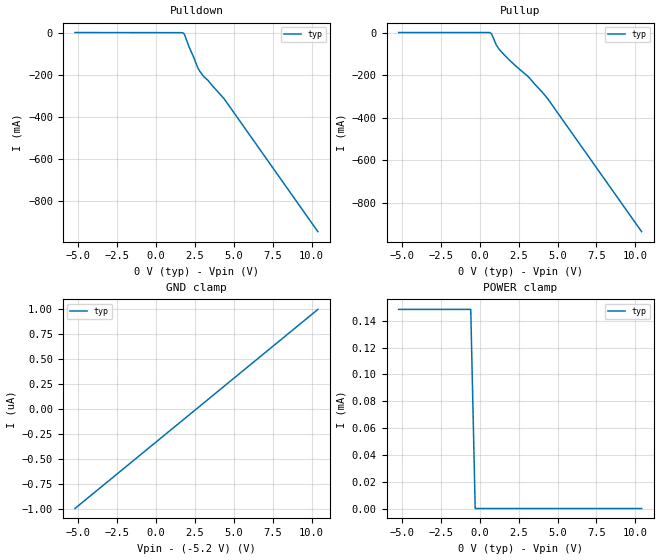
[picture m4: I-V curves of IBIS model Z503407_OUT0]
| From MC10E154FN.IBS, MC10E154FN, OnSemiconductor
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| (C) COPYRIGHT 1993-2000
| MENTOR GRAPHICS CORPORATION
| ICX STANDARD LIBRARY, ICX PROJECT MODELING,
| ICX CUSTOM MODELING, ICX VENDOR MODEL
| ALL RIGHTS RESERVED.
| THE FOLLOWING ARE TRADEMARKS OR SERVICE MARKS OF
| MENTOR GRAPHICS CORPORATION:ICX (R), ICX STANDARD
| LIBRARY(R), ICX PROJECT MODELING(R), ICX CUSTOM
| MODELING(R), qualityIBIS(TM), MODELVIEWER(TM),
| AND MODELEDITOR(TM)
| ALL COPIES OF SOFTWARE, INCLUDING BUT NOT LIMITED TO
| ANY MODIFICATIONS, ENHANCEMENTS OR DERIVATIVE WORKS,
| MUST CONTAIN ALL MENTOR GRAPHICS CORPORATION'S
| NOTICES AND LEGENDS, INCLUDING THOSE EMBEDDED IN
| SOFTWARE AND THOSE AFFIXED TO SOFTWARE MEDIUM
| AND CONTAINER, AS RECEIVED FROM MENTOR GRAPHICS
| CORPORATION.
| Model Application Version 1.89 2/18/99.
[Model] Z503407_OUT0
Model_type Output_ECL
Vref=-2.000V
Rref=50.00ohms
Cref=0.000F
Vmeas=-1.305V
C_comp 8.000pF NA NA
| variable typ   min   max
[Voltage Range] -5.200V NA NA
[POWER Clamp Reference] 0.000V NA NA
[Pullup Reference] 0.000V NA NA
[Pulldown Reference] 0.000V NA NA
[GND Clamp Reference] -5.200V NA NA
[GND Clamp]
-5.2V     -1uA       NA         NA
10.4V     1uA        NA         NA
[Pulldown]
-5.2V     492uA      NA         NA
1.605V    20.04uA    NA         NA
1.782V    -3.321mA   NA         NA
1.882V    -17.56mA   NA         NA
2.109V    -64.39mA   NA         NA
2.432V    -117.7mA   NA         NA
2.646V    -159.4mA   NA         NA
2.818V    -183.8mA   NA         NA
3.073V    -209.1mA   NA         NA
3.35V     -227.6mA   NA         NA
4.375V    -313.9mA   NA         NA
10.4V     -946.6mA   NA         NA
[Pullup]
-5.2V     -68.69uA   NA         NA
567.4mV   -68.69uA   NA         NA
725.1mV   -3.062mA   NA         NA
828.2mV   -16.67mA   NA         NA
1.06V     -57.51mA   NA         NA
1.255V    -79.03mA   NA         NA
2.031V    -137.8mA   NA         NA
3.188V    -212.5mA   NA         NA
4.376V    -311.8mA   NA         NA
10.4V     -935.8mA   NA         NA
[POWER Clamp]
-5.2V     148.4uA    NA         NA
-571.4mV  148.4uA    NA         NA
-285.7mV  0A         NA         NA
10.4V     0A         NA         NA
[Ramp]
| variable typ min max
dV/dt_r 599.0m/225.0p NA NA
dV/dt_f 599.0m/300.8p NA NA
R_load = 500.0Ohms
